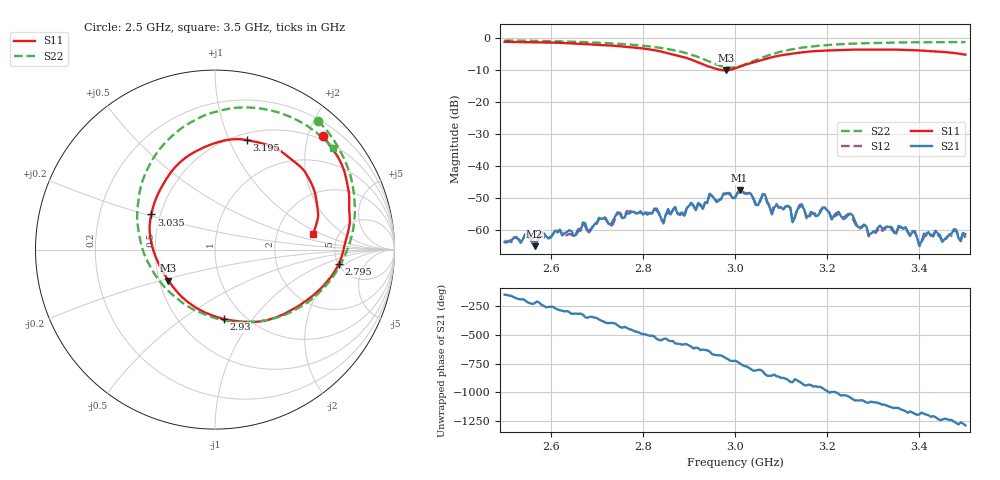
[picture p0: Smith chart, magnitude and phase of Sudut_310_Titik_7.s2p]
# Hz S RI R 50
! CMT, C1220, 16058040, 17.2.0/1
! Date: 15/08/2018 10:11:28
! Data: Format (Calibration Info)
! Freq  S11: Re/Im (F2)  S21: Re/Im (F2)  S12: Re/Im (F2)  S22: Re/Im (F2)
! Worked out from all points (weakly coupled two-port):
!   201 points, 2.5 GHz to 3.5 GHz, reference 50 ohm
!   highest |S21| = -47.65 dB at 3.01 GHz (marker M1); lowest = -65.2 dB at 2.565 GHz (marker M2)
!   lowest |S11| = -10.1 dB at 2.98 GHz (marker M3), VSWR 1.90, Z = 27.9 - j10.7 ohm
!   |S11| at or under -10 dB: 2.97 GHz to 2.988 GHz (17.47 MHz wide, 0.587 % of centre)
!   |S22| runs from -9.2 to -0.7 dB; largest |S21 - S12| = 0.00031
!   S11 on the Smith chart (normalised r, x): 2.5 GHz: 0.42, +2.25; 2.795 GHz: 5.09, -1.53; 2.93 GHz: 0.80, -0.73; 3.035 GHz: 0.45, +0.21; 3.195 GHz: 0.57, +1.16; 3.5 GHz: 3.24, +0.79
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2.5e9  0.5998 0.6355  -0.000542 -0.000332  -0.000588 -0.000335  0.573 0.7171
2.565e9  0.6679 0.5422  -0.000393 0.000386  -0.000386 0.000519  0.646 0.6336
2.67e9  0.746 0.3179  0.00105 0.000764  0.00102 0.000704  0.7449 0.4426
2.795e9  0.691 -0.0775  -0.00117 -0.00155  -0.00115 -0.00147  0.7624 0.0792
2.835e9  0.5856 -0.2206  -0.00184 0.000112  -0.00177 0.000147  0.7041 -0.0748
2.93e9  0.0478 -0.3859  -7.74e-05 0.00211  -0.000118 0.00211  0.2563 -0.3983
2.98e9  -0.2593 -0.1725  0.00352 0.00111  0.00336 0.00125  -0.1426 -0.3218
3e9  -0.3322 -0.0361  0.00312 -0.000313  0.00313 -0.000478  -0.2794 -0.2101
3.01e9  -0.3533 0.0324  0.00367 -0.00192  0.00348 -0.00182  -0.3347 -0.1397
3.035e9  -0.3549 0.1958  0.000631 -0.00356  0.000728 -0.00359  -0.4174 0.055
3.065e9  -0.2848 0.3706  -0.00185 -0.00301  -0.00176 -0.00284  -0.4248 0.2868
3.08e9  -0.2378 0.4409  -0.00122 -0.00122  -0.00131 -0.00133  -0.4014 0.3903
3.115e9  -0.1056 0.5481  -0.00231 -0.000301  -0.00236 -0.000189  -0.2925 0.5785
3.125e9  -0.0656 0.5678  -0.00127 0.000281  -0.00126 0.000304  -0.2538 0.6192
3.14e9  -0.00679 0.5912  -0.00224 0.000333  -0.0024 0.000333  -0.195 0.6701
3.17e9  0.0976 0.6144  -0.00114 0.0014  -0.00123 0.00129  -0.0774 0.7392
3.195e9  0.1777 0.61  -0.000411 0.00216  -0.000308 0.0022  0.0153 0.7705
3.29e9  0.4154 0.5111  0.000824 -0.000169  0.000767 -0.000169  0.3065 0.7762
3.335e9  0.4939 0.4429  0.000768 -0.000784  0.000847 -0.000816  0.4087 0.744
3.39e9  0.5499 0.338  -0.000264 -0.000871  -0.000264 -0.000913  0.5107 0.6918
3.4e9  0.5564 0.3176  -0.00022 -0.000524  -0.000287 -0.000469  0.5264 0.68
3.5e9  0.5442 0.0854  -0.000737 0.000421  -0.000638 0.000382  0.6571 0.5636
